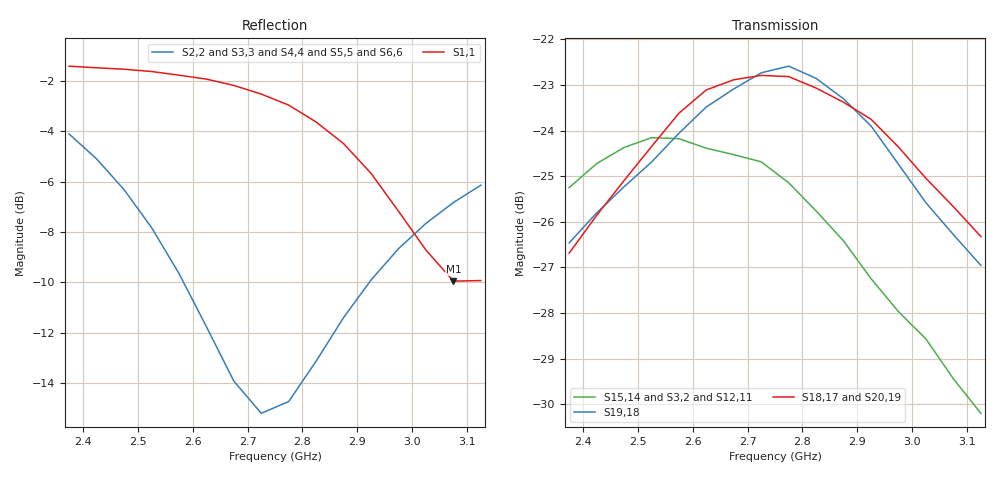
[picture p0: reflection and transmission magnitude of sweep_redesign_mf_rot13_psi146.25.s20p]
! Touchstone file from project redesign_phase3_v3_multifreq
! Exported from HFSS-IE 2016.2.0
! Variables:
!  $AUT_phi = 0deg
!  AUT_phi = 0deg
!  AUT_psi = 146.25deg
!  aut_length = 13.625cm
!  dipole_length = 4.91cm
!  port_gap = 0.082cm
!  wire_rad = 0.082cm
# GHZ S MA R 50.000000
! Terminal data exported
! Port[1] = port1_T1
! Port[2] = port1_T2
! Port[3] = port1_T3
! Port[4] = port1_T4
! Port[5] = port1_T5
! Port[6] = port1_T6
! Port[7] = port1_T7
! Port[8] = port1_T8
! Port[9] = port1_T9
! Port[10] = port1_T10
! Port[11] = port1_T11
! Port[12] = port1_T12
! Port[13] = port1_T13
! Port[14] = port1_T14
! Port[15] = port1_T15
! Port[16] = port1_T16
! Port[17] = port1_T17
! Port[18] = port1_T18
! Port[19] = port1_T19
! Port[20] = port1_T20
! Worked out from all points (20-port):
!   16 points, 2.375 GHz to 3.125 GHz, reference 50 ohm
!   strongest paths, dB at 2.375 GHz, 2.575 GHz, 2.775 GHz, 2.975 GHz, 3.125 GHz:
!     S18,17: -26.7, -23.6, -22.8, -24.4, -26.3
!     S20,19: -26.4, -23.6, -23.1, -24.7, -26.7
!     S19,18: -26.5, -24.1, -22.6, -24.7, -27.0
!     S15,14: -25.3, -24.2, -25.1, -28.0, -30.2
!     S3,2: -25.3, -24.1, -25.2, -27.8, -30.2
!     S12,11: -25.2, -24.1, -25.3, -27.8, -30.1
!   lowest |S11| = -10.0 dB at 3.075 GHz (marker M1), VSWR 1.93, Z = 75.2 - j32.5 ohm
!   |S11| at or under -10 dB: nowhere
